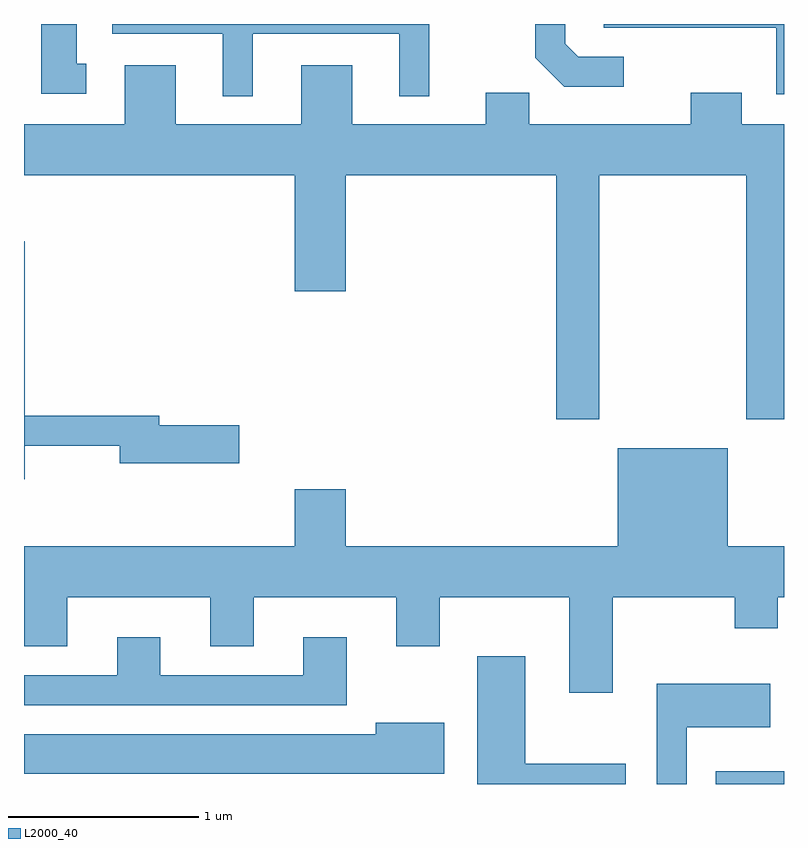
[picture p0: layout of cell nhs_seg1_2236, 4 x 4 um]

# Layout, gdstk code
import gdstk
lib = gdstk.Library(unit=1e-6, precision=1e-09)
def R(c, l, rs):  # rectangles x0, y0, x1, y1
    for r in rs: c.add(gdstk.rectangle(r[:2], r[2:], *l))
def P(c, l, *ps):  # polygons
    for p in ps: c.add(gdstk.Polygon(p, *l))
L2000_40 = (2000, 40)

nhs_seg1_2236 = lib.new_cell('nhs_seg1_2236')
R(nhs_seg1_2236, L2000_40, [(257.251,889.712,257.611,889.779)])
P(nhs_seg1_2236, L2000_40, [(257.611,893.712),(256.661,893.712),(256.661,893.691),(257.571,893.691),(257.571,893.341),(257.611,893.341)],
  [(256.767,893.539),(256.527,893.539),(256.459,893.607),(256.459,893.712),(256.301,893.712),(256.301,893.534),(256.454,893.381),(256.767,893.381)],
  [(253.938,893.504),(253.889,893.504),(253.889,893.712),(253.701,893.712),(253.701,893.346),(253.938,893.346)],
  [(254.814,893.661),(255.586,893.661),(255.586,893.333),(255.744,893.333),(255.744,893.712),(254.076,893.712),(254.076,893.661),(254.656,893.661),(254.656,893.333),(254.814,893.333)],
  [(256.639,892.916),(257.411,892.916),(257.411,891.631),(257.611,891.631),(257.611,893.184),(257.389,893.184),(257.389,893.349),(257.121,893.349),(257.121,893.184),(256.269,893.184),(256.269,893.349),(256.041,893.349),(256.041,893.184),(255.339,893.184),(255.339,893.494),(255.071,893.494),(255.071,893.184),(254.409,893.184),(254.409,893.494),(254.141,893.494),(254.141,893.184),(253.611,893.184),(253.611,892.916),(255.036,892.916),(255.036,892.306),(255.304,892.306),(255.304,892.916),(256.411,892.916),(256.411,891.631),(256.639,891.631)],
  [(253.614,891.491),(254.116,891.491),(254.116,891.401),(254.744,891.401),(254.744,891.599),(254.324,891.599),(254.324,891.649),(253.614,891.649),(253.614,892.569),(253.611,892.569),(253.611,891.316),(253.614,891.316)],
  [(256.736,891.479),(256.736,890.964),(255.304,890.964),(255.304,891.264),(255.036,891.264),(255.036,890.964),(253.611,890.964),(253.611,890.436),(253.839,890.436),(253.839,890.696),(254.591,890.696),(254.591,890.436),(254.819,890.436),(254.819,890.696),(255.571,890.696),(255.571,890.436),(255.799,890.436),(255.799,890.696),(256.481,890.696),(256.481,890.191),(256.709,890.191),(256.709,890.696),(257.351,890.696),(257.351,890.531),(257.579,890.531),(257.579,890.696),(257.611,890.696),(257.611,890.964),(257.314,890.964),(257.314,891.479)],
  [(255.309,890.484),(255.081,890.484),(255.081,890.284),(254.329,890.284),(254.329,890.484),(254.101,890.484),(254.101,890.284),(253.611,890.284),(253.611,890.126),(255.309,890.126)],
  [(256.779,889.819),(256.249,889.819),(256.249,890.384),(255.996,890.384),(255.996,889.712),(256.779,889.712)],
  [(257.099,890.011),(257.539,890.011),(257.539,890.239),(256.941,890.239),(256.941,889.712),(257.099,889.712)],
  [(255.824,890.034),(255.461,890.034),(255.461,889.974),(253.611,889.974),(253.611,889.766),(255.824,889.766)])

lib.write_gds('nhs_seg1_2236.gds')
